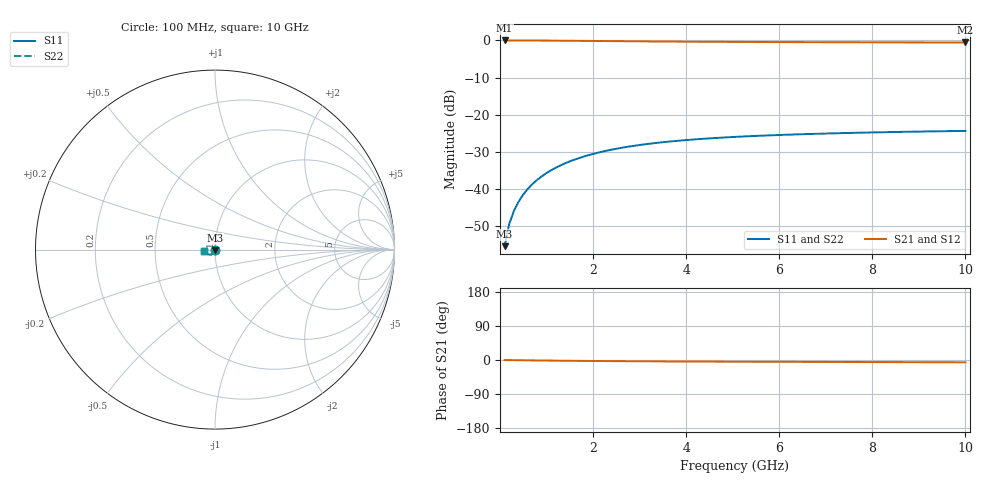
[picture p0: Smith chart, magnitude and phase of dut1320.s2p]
! Touchstone file exported from HFSS 2024.1.0
!  File:  C:/UserFiles/LocalFiles/RDL_TSV_Batchsim/temp_TSV1_1320_1780374217.aedt
!  Generated:  12:29:13 PM Jun  2, 2026
!  Design:  TSV1
!  Project:  temp_TSV1_1320_1780374217
!  Setup:  Setup1
!  Solution:  Sweep
! Variables:
!  dtsv = 11.23um
!  hbump = 3um
!  htsv = 98.16um
!  lrdl = 252.1521522um
!  p = 40
!  p1 = 49.95um
!  t = 500um
!  trdl = 3um
!  wrdl = 24.89489489um
# GHz S MA R 50.000000
! Terminal data exported
! Port[1] = TSV22_T1
! Port[2] = TSV22_T2
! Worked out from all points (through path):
!   100 points, 100 MHz to 10 GHz, reference 50 ohm
!   highest |S21| = 0.00 dB at 100 MHz (marker M1); lowest = -0.5 dB at 10 GHz (marker M2)
!   lowest |S11| = -55.5 dB at 100 MHz (marker M3), VSWR 1.00, Z = 50 - j0.168 ohm
!   |S11| at or under -10 dB: start of sweep to end of sweep
!   |S22| runs from -55.5 to -24.4 dB; largest |S21 - S12| = 2.6e-15
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0.1  0.001681 -87.2  0.9998 -0.2  0.9998 -0.2  0.001681 -87.2
! Gamma 0 0 0 0
! Port Impedance 50 0 50 0
0.2  0.003355 -91.1  0.9996 -0.3  0.9996 -0.3  0.003355 -91.1
0.3  0.005027 -93.5  0.9994 -0.5  0.9994 -0.5  0.005027 -93.5
0.4  0.006693 -95.6  0.999 -0.6  0.999 -0.6  0.006693 -95.6
0.5  0.008346 -97.5  0.9985 -0.8  0.9985 -0.8  0.008346 -97.5
0.6  0.009983 -99.4  0.998 -0.9  0.998 -0.9  0.009983 -99.4
0.7  0.0116 -101.2  0.9974 -1.1  0.9974 -1.1  0.0116 -101.2
0.8  0.01319 -103.0  0.9966 -1.2  0.9966 -1.2  0.01319 -103.0
0.9  0.01475 -104.7  0.9959 -1.3  0.9959 -1.3  0.01475 -104.7
1.1  0.01777 -108.1  0.9941 -1.6  0.9941 -1.6  0.01777 -108.1
1.4  0.02203 -113.0  0.9911 -2.0  0.9911 -2.0  0.02203 -113.0
1.6  0.02468 -116.0  0.989 -2.2  0.989 -2.2  0.02468 -116.0
1.8  0.02717 -118.9  0.9867 -2.4  0.9867 -2.4  0.02717 -118.9
2.1  0.0306 -123.1  0.9832 -2.7  0.9832 -2.7  0.0306 -123.1
2.5  0.03463 -128.2  0.9786 -3.0  0.9786 -3.0  0.03463 -128.2
2.9  0.0381 -132.8  0.9742 -3.3  0.9742 -3.3  0.0381 -132.8
3.4  0.04176 -137.9  0.9692 -3.6  0.9692 -3.6  0.04177 -137.9
4.2  0.04637 -145.0  0.9622 -4.0  0.9622 -4.0  0.04637 -145.0
5.1  0.05021 -151.6  0.9559 -4.4  0.9559 -4.4  0.05021 -151.6
6.7  0.05488 -160.9  0.9479 -5.0  0.9479 -5.0  0.05488 -160.9
8.4  0.05812 -168.6  0.9423 -5.6  0.9423 -5.6  0.05812 -168.6
10  0.06032 -174.7  0.9387 -6.2  0.9387 -6.2  0.06032 -174.7
